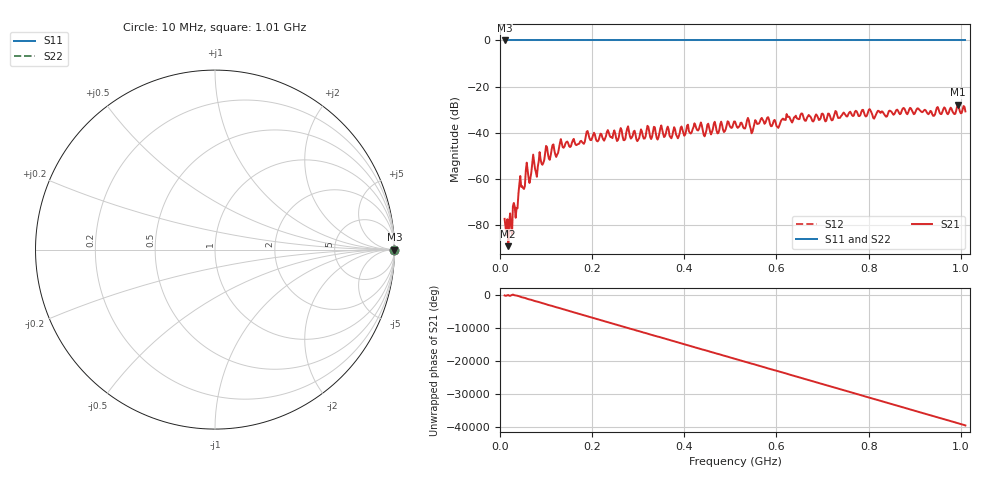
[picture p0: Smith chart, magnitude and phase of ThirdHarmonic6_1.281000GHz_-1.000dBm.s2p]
! 8/16/2025 1:56:35 PM
! C:\ANRITSUVNA\TEMP\TEMP.S2P
! CHANNEL.1
! TR.MEASUREMENT
! RAW.DATA
! RF.CORRECTION.OFF
! AVERAGING.OFF
! IF.BANDWIDTH: 5KHZ
! SWEEPTYPE:  FREQ.SWEEP(Linear)
! Reference Plane Port Info
! PORT:  PORT1  PORT2
! DISTANCE:  0  m  0  m
! TIME:  0  s  0  s
! PHASE.OFFSET:  0  deg.  0  deg.
! LOSS:  0  dB  0  dB
! REF.LOSS:  0  dB  0  dB
! REF.FREQ:  0  Hz  0  Hz
! Power Info
! POWER:  -20  dBm  -20  dBm
! EFF.POWER:  -20  dBm  -20  dBm
! SOURCE.ATTEN:  0  dB  0  dB
! TEST.ATTEN:  0  dB  0  dB
# GHZ S RI R 50.0
! FREQ.GHZ  S11RE  S11IM  S21RE  S21IM  S12RE  S12IM  S22RE  S22IM
!; PortSelection: Port_12
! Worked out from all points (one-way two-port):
!   501 points, 10 MHz to 1.01 GHz, reference 50 ohm
!   highest |S21| = -27.78 dB at 994 MHz (marker M1); lowest = -89.1 dB at 18 MHz (marker M2)
!   lowest |S11| = 0.0 dB at 10 MHz (marker M3)
!   |S11| at or under -10 dB: nowhere
!   |S22| runs from 0.0 to 0.0 dB; largest |S21 - S12| = 1
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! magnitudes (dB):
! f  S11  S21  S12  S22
! 10 MHz  0.0  -77.3  0.0  0.0
! 18 MHz  0.0  -89.1  0.0  0.0
! 36 MHz  0.0  -72.5  0.0  0.0
! 44 MHz  0.0  -58.7  0.0  0.0
! 50 MHz  0.0  -63.9  0.0  0.0
! 72 MHz  0.0  -49.5  0.0  0.0
! 80 MHz  0.0  -59.1  0.0  0.0
! 100 MHz  0.0  -45.7  0.0  0.0
! 122 MHz  0.0  -50.5  0.0  0.0
! 132 MHz  0.0  -42.7  0.0  0.0
! 178 MHz  0.0  -44.0  0.0  0.0
! 190 MHz  0.0  -39.2  0.0  0.0
! 344 MHz  0.0  -41.9  0.0  0.0
! 510 MHz  0.0  -35.1  0.0  0.0
! 538 MHz  0.0  -33.6  0.0  0.0
! 546 MHz  0.0  -40.2  0.0  0.0
! 568 MHz  0.0  -33.6  0.0  0.0
! 604 MHz  0.0  -37.9  0.0  0.0
! 678 MHz  0.0  -35.0  0.0  0.0
! 844 MHz  0.0  -30.6  0.0  0.0
! 994 MHz  0.0  -27.8  0.0  0.0
! 1.01 GHz  0.0  -30.7  0.0  0.0
